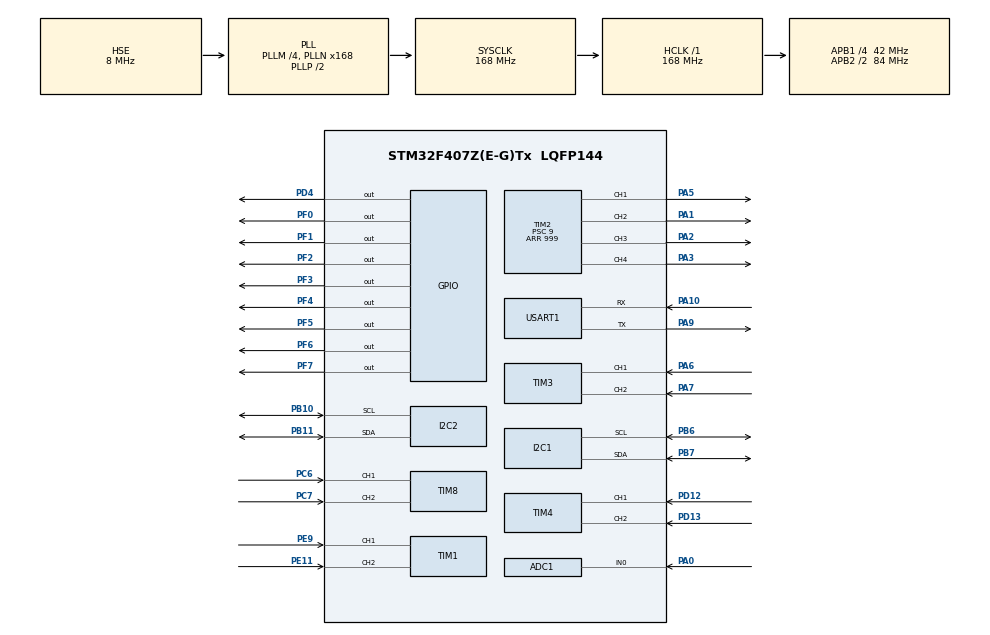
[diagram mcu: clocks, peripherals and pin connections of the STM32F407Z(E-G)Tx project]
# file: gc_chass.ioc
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ADC1.Channel-0\#ChannelRegularConversion=ADC_CHANNEL_0
ADC1.NbrOfConversionFlag=1
ADC1.Rank-0\#ChannelRegularConversion=1
ADC1.SamplingTime-0\#ChannelRegularConversion=ADC_SAMPLETIME_3CYCLES
ADC1.master=1
Dma.Request0=USART1_RX
Dma.USART1_RX.0.Direction=DMA_PERIPH_TO_MEMORY
Dma.USART1_RX.0.FIFOMode=DMA_FIFOMODE_DISABLE
Dma.USART1_RX.0.Instance=DMA2_Stream2
Dma.USART1_RX.0.MemDataAlignment=DMA_MDATAALIGN_BYTE
Dma.USART1_RX.0.MemInc=DMA_MINC_ENABLE
Dma.USART1_RX.0.Mode=DMA_NORMAL
Dma.USART1_RX.0.PeriphDataAlignment=DMA_PDATAALIGN_BYTE
Dma.USART1_RX.0.PeriphInc=DMA_PINC_DISABLE
Dma.USART1_RX.0.Priority=DMA_PRIORITY_LOW
FREERTOS.Tasks01=defaultTask,0,128,StartDefaultTask,Default,NULL,Dynamic,NULL,NULL
Mcu.Family=STM32F4
Mcu.Name=STM32F407Z(E-G)Tx
Mcu.Package=LQFP144
NVIC.DMA2_Stream2_IRQn=true\:5\:0\:false\:false\:true\:true\:false\:true\:true
NVIC.PriorityGroup=NVIC_PRIORITYGROUP_4
NVIC.TIM1_BRK_TIM9_IRQn=true\:5\:0\:false\:false\:true\:true\:true\:true\:true
NVIC.TIM5_IRQn=true\:15\:0\:false\:false\:true\:false\:false\:true\:true
NVIC.TimeBase=TIM5_IRQn
NVIC.TimeBaseIP=TIM5
NVIC.USART1_IRQn=true\:5\:0\:false\:false\:true\:true\:true\:true\:true
PA0-WKUP.Signal=ADCx_IN0
PA1.Signal=S_TIM2_CH2
PA10.Mode=Asynchronous
PA10.Signal=USART1_RX
PA13.Mode=Serial_Wire
PA13.Signal=SYS_JTMS-SWDIO
PA14.Mode=Serial_Wire
PA14.Signal=SYS_JTCK-SWCLK
PA2.Signal=S_TIM2_CH3
PA3.Signal=S_TIM2_CH4
PA5.Signal=S_TIM2_CH1_ETR
PA6.Signal=S_TIM3_CH1
PA7.Signal=S_TIM3_CH2
PA9.Mode=Asynchronous
PA9.Signal=USART1_TX
PB10.Mode=I2C
PB10.Signal=I2C2_SCL
PB11.Mode=I2C
PB11.Signal=I2C2_SDA
PB6.Mode=I2C
PB6.Signal=I2C1_SCL
PB7.Mode=I2C
PB7.Signal=I2C1_SDA
PC6.Signal=S_TIM8_CH1
PC7.Signal=S_TIM8_CH2
PD12.Signal=S_TIM4_CH1
PD13.Signal=S_TIM4_CH2
PD4.GPIO_ModeDefaultOutputPP=GPIO_MODE_OUTPUT_PP
PD4.GPIO_PuPd=GPIO_PULLUP
PD4.Signal=GPIO_Output
PE11.Signal=S_TIM1_CH2
PE9.Signal=S_TIM1_CH1
PF0.Signal=GPIO_Output
PF1.Signal=GPIO_Output
PF2.Signal=GPIO_Output
PF3.Signal=GPIO_Output
PF4.Signal=GPIO_Output
PF5.Signal=GPIO_Output
PF6.Signal=GPIO_Output
PF7.Signal=GPIO_Output
PH0-OSC_IN.Mode=HSE-External-Oscillator
PH0-OSC_IN.Signal=RCC_OSC_IN
PH1-OSC_OUT.Mode=HSE-External-Oscillator
PH1-OSC_OUT.Signal=RCC_OSC_OUT
ProjectManager.HeapSize=0x400
ProjectManager.StackSize=0x400
ProjectManager.TargetToolchain=MDK-ARM V5.32
RCC.48MHZClocksFreq_Value=84000000
RCC.AHBFreq_Value=168000000
RCC.APB1CLKDivider=RCC_HCLK_DIV4
RCC.APB1Freq_Value=42000000
RCC.APB1TimFreq_Value=84000000
RCC.APB2CLKDivider=RCC_HCLK_DIV2
RCC.APB2Freq_Value=84000000
RCC.APB2TimFreq_Value=168000000
RCC.CortexFreq_Value=168000000
RCC.HCLKFreq_Value=168000000
RCC.HSE_VALUE=8000000
RCC.HSI_VALUE=16000000
RCC.LSE_VALUE=32768
RCC.PLLM=4
RCC.PLLN=168
RCC.PLLSourceVirtual=RCC_PLLSOURCE_HSE
RCC.SYSCLKFreq_VALUE=168000000
RCC.SYSCLKSource=RCC_SYSCLKSOURCE_PLLCLK
RCC.VCOOutputFreq_Value=336000000
SH.ADCx_IN0.0=ADC1_IN0,IN0
SH.S_TIM1_CH1.0=TIM1_CH1,Encoder_Interface
SH.S_TIM1_CH2.0=TIM1_CH2,Encoder_Interface
SH.S_TIM2_CH1_ETR.0=TIM2_CH1,PWM Generation1 CH1
SH.S_TIM2_CH2.0=TIM2_CH2,PWM Generation2 CH2
SH.S_TIM2_CH3.0=TIM2_CH3,PWM Generation3 CH3
SH.S_TIM2_CH4.0=TIM2_CH4,PWM Generation4 CH4
SH.S_TIM3_CH1.0=TIM3_CH1,Encoder_Interface
SH.S_TIM3_CH2.0=TIM3_CH2,Encoder_Interface
SH.S_TIM4_CH1.0=TIM4_CH1,Encoder_Interface
SH.S_TIM4_CH2.0=TIM4_CH2,Encoder_Interface
SH.S_TIM8_CH1.0=TIM8_CH1,Encoder_Interface
SH.S_TIM8_CH2.0=TIM8_CH2,Encoder_Interface
TIM1.EncoderMode=TIM_ENCODERMODE_TI12
TIM2.Channel-PWM\ Generation1\ CH1=TIM_CHANNEL_1
TIM2.Channel-PWM\ Generation2\ CH2=TIM_CHANNEL_2
TIM2.Channel-PWM\ Generation3\ CH3=TIM_CHANNEL_3
TIM2.Channel-PWM\ Generation4\ CH4=TIM_CHANNEL_4
TIM2.Period=999
TIM2.Prescaler=9
TIM3.EncoderMode=TIM_ENCODERMODE_TI12
TIM4.EncoderMode=TIM_ENCODERMODE_TI12
TIM8.EncoderMode=TIM_ENCODERMODE_TI12
TIM8.IC2Polarity=TIM_ICPOLARITY_FALLING
TIM9.Period=999
TIM9.Prescaler=99
USART1.VirtualMode=VM_ASYNC
VP_FREERTOS_VS_CMSIS_V1.Mode=CMSIS_V1
VP_SYS_VS_tim5.Mode=TIM5
VP_TIM2_VS_ClockSourceINT.Mode=Internal
VP_TIM9_VS_ClockSourceINT.Mode=Internal
board=custom

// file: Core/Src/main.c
/* USER CODE BEGIN Header */
/**
  ******************************************************************************
  * @file           : main.c
  * @brief          : Main program body
  ******************************************************************************
  * @attention
  *
  * Copyright (c) 2024 STMicroelectronics.
  * All rights reserved.
  *
  * This software is licensed under terms that can be found in the LICENSE file
  * in the root directory of this software component.
  * If no LICENSE file comes with this software, it is provided AS-IS.
  *
  ******************************************************************************
  */
/* USER CODE END Header */
#include "main.h"
#include "cmsis_os.h"
#include "adc.h"
#include "dma.h"
#include "i2c.h"
#include "tim.h"
#include "usart.h"
#include "gpio.h"

/* USER CODE BEGIN Includes */
#include "util_uart.h"
#include "stdio.h"
#include "mpu_9250.h"
#include "kalman.h"
#include "sys_dwt.h"
#include "app_ins.h"
#include "chassic_task.h"
/* USER CODE END Includes */

void SystemClock_Config(void);
void MX_FREERTOS_Init(void);
/* USER CODE BEGIN PFP */
uint8_t Remote_RxData[Const_Remote_RX_BUFF_LEN];
/* USER CODE END PFP */

int main(void)
{

  /* MCU Configuration--------------------------------------------------------*/

  /* Reset of all peripherals, Initializes the Flash interface and the Systick. */
  HAL_Init();

  /* Configure the system clock */
  SystemClock_Config();

  /* Initialize all configured peripherals */
  MX_GPIO_Init();
  MX_DMA_Init();
  MX_TIM3_Init();
  MX_TIM4_Init();
  MX_TIM2_Init();
  MX_TIM8_Init();
  MX_USART1_UART_Init();
  MX_TIM1_Init();
  MX_I2C2_Init();
  MX_I2C1_Init();
  MX_TIM9_Init();
  MX_ADC1_Init();
  /* USER CODE BEGIN 2 */
	 Ins_set
   Uart_InitUartDMA(&huart1);
   Uart_ReceiveDMA(&huart1, Remote_RxData, Const_Remote_RX_BUFF_LEN);
    DWT_Init(168);
	 INS_Init();
	 Init_MPU9250();
	 HAL_TIM_Base_Start_IT(&htim9);
  /* USER CODE END 2 */

  /* Call init function for freertos objects (in cmsis_os2.c) */
  MX_FREERTOS_Init();

  /* Start scheduler */
  osKernelStart();

  /* We should never get here as control is now taken by the scheduler */

  /* Infinite loop */
  while (1)
  {

  }
}

void SystemClock_Config(void)
{
  RCC_OscInitTypeDef RCC_OscInitStruct = {0};
  RCC_ClkInitTypeDef RCC_ClkInitStruct = {0};

  /** Configure the main internal regulator output voltage
  */
  __HAL_RCC_PWR_CLK_ENABLE();
  __HAL_PWR_VOLTAGESCALING_CONFIG(PWR_REGULATOR_VOLTAGE_SCALE1);

  /** Initializes the RCC Oscillators according to the specified parameters
  * in the RCC_OscInitTypeDef structure.
  */
  RCC_OscInitStruct.OscillatorType = RCC_OSCILLATORTYPE_HSE;
  RCC_OscInitStruct.HSEState = RCC_HSE_ON;
  RCC_OscInitStruct.PLL.PLLState = RCC_PLL_ON;
  RCC_OscInitStruct.PLL.PLLSource = RCC_PLLSOURCE_HSE;
  RCC_OscInitStruct.PLL.PLLM = 4;
  RCC_OscInitStruct.PLL.PLLN = 168;
  RCC_OscInitStruct.PLL.PLLP = RCC_PLLP_DIV2;
  RCC_OscInitStruct.PLL.PLLQ = 4;
  if (HAL_RCC_OscConfig(&RCC_OscInitStruct) != HAL_OK)
  {
    Error_Handler();
  }

  /** Initializes the CPU, AHB and APB buses clocks
  */
  RCC_ClkInitStruct.ClockType = RCC_CLOCKTYPE_HCLK|RCC_CLOCKTYPE_SYSCLK
                              |RCC_CLOCKTYPE_PCLK1|RCC_CLOCKTYPE_PCLK2;
  RCC_ClkInitStruct.SYSCLKSource = RCC_SYSCLKSOURCE_PLLCLK;
  RCC_ClkInitStruct.AHBCLKDivider = RCC_SYSCLK_DIV1;
  RCC_ClkInitStruct.APB1CLKDivider = RCC_HCLK_DIV4;
  RCC_ClkInitStruct.APB2CLKDivider = RCC_HCLK_DIV2;

  if (HAL_RCC_ClockConfig(&RCC_ClkInitStruct, FLASH_LATENCY_5) != HAL_OK)
  {
    Error_Handler();
  }
}

void HAL_TIM_PeriodElapsedCallback(TIM_HandleTypeDef *htim)
{
  if (htim->Instance == TIM5) {
    HAL_IncTick();
  }
  /* USER CODE BEGIN Callback 1 */
  if (htim->Instance==TIM9){
	chassic_get_feed();
	}
  /* USER CODE END Callback 1 */
}

void Error_Handler(void)
{
  __disable_irq();
  while (1)
  {
  }
}

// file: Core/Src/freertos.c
/* USER CODE BEGIN Header */
/**
  ******************************************************************************
  * File Name          : freertos.c
  * Description        : Code for freertos applications
  ******************************************************************************
  * @attention
  *
  * Copyright (c) 2024 STMicroelectronics.
  * All rights reserved.
  *
  * This software is licensed under terms that can be found in the LICENSE file
  * in the root directory of this software component.
  * If no LICENSE file comes with this software, it is provided AS-IS.
  *
  ******************************************************************************
  */
/* USER CODE END Header */

#include "FreeRTOS.h"
#include "task.h"
#include "main.h"
#include "cmsis_os.h"

/* USER CODE BEGIN Includes */
#include "chassic_task.h"
#include "Angle_cal_task.h"
#include "app_ins.h"
/* USER CODE END Includes */

osThreadId defaultTaskHandle;

/* USER CODE BEGIN FunctionPrototypes */
osThreadId chassicTaskHandle;
osThreadId angleTaskHandle;
/* USER CODE END FunctionPrototypes */

void StartDefaultTask(void const * argument);

void MX_FREERTOS_Init(void); /* (MISRA C 2004 rule 8.1) */

/* GetIdleTaskMemory prototype (linked to static allocation support) */
void vApplicationGetIdleTaskMemory( StaticTask_t **ppxIdleTaskTCBBuffer, StackType_t **ppxIdleTaskStackBuffer, uint32_t *pulIdleTaskStackSize );

/* USER CODE BEGIN GET_IDLE_TASK_MEMORY */
static StaticTask_t xIdleTaskTCBBuffer;
static StackType_t xIdleStack[configMINIMAL_STACK_SIZE];

void vApplicationGetIdleTaskMemory( StaticTask_t **ppxIdleTaskTCBBuffer, StackType_t **ppxIdleTaskStackBuffer, uint32_t *pulIdleTaskStackSize )
{
  *ppxIdleTaskTCBBuffer = &xIdleTaskTCBBuffer;
  *ppxIdleTaskStackBuffer = &xIdleStack[0];
  *pulIdleTaskStackSize = configMINIMAL_STACK_SIZE;
  /* place for user code */
}
/* USER CODE END GET_IDLE_TASK_MEMORY */

void MX_FREERTOS_Init(void) {

  /* Create the thread(s) */
  /* definition and creation of defaultTask */
  osThreadDef(defaultTask, StartDefaultTask, osPriorityNormal, 0, 128);
  defaultTaskHandle = osThreadCreate(osThread(defaultTask), NULL);

  /* USER CODE BEGIN RTOS_THREADS */
  /* add threads, ... */
	 osThreadDef(chassicTask,chassic_task, osPriorityNormal, 0, 128);
   chassicTaskHandle = osThreadCreate(osThread(chassicTask), NULL);
	 osThreadDef(anglecalTask,Ins_Task, osPriorityNormal, 0, 128);
   angleTaskHandle = osThreadCreate(osThread(anglecalTask), NULL);
	 //osThreadDef(remoteTask,)
  /* USER CODE END RTOS_THREADS */

}

void StartDefaultTask(void const * argument)
{
  for(;;)
  {
    osDelay(1);
  }
}
